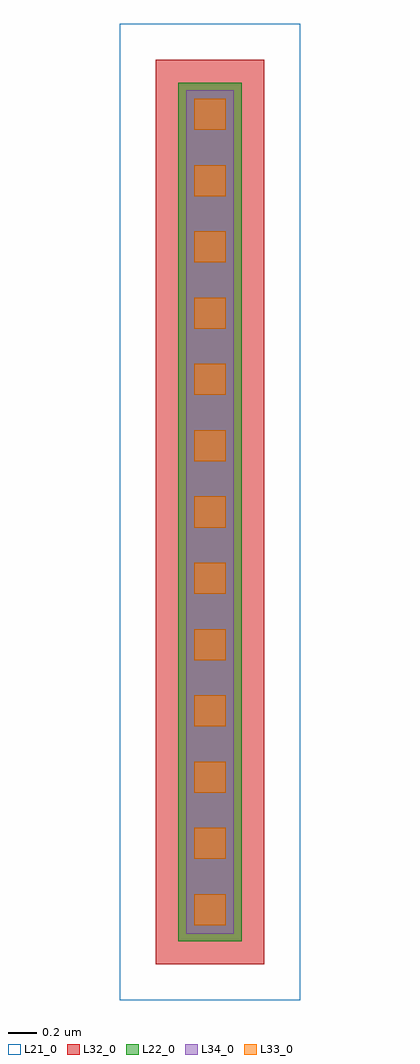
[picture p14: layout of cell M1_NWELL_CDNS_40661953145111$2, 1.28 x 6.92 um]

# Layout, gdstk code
import gdstk
lib = gdstk.Library(unit=1e-6, precision=1e-09)
def R(c, l, rs):  # rectangles x0, y0, x1, y1
    for r in rs: c.add(gdstk.rectangle(r[:2], r[2:], *l))
def A(c, l, x, y, w, h, nx, ny, dx, dy):  # array of equal rectangles
    R(c, l, [(x+i*dx, y+j*dy, x+i*dx+w, y+j*dy+h) for i in range(nx) for j in range(ny)])
L21_0 = (21, 0)
L22_0 = (22, 0)
L32_0 = (32, 0)
L33_0 = (33, 0)
L34_0 = (34, 0)

m1_nwell_cdns_4066195314 = lib.new_cell('M1_NWELL_CDNS_40661953145111$2')
R(m1_nwell_cdns_4066195314, L21_0, [(-0.64,-3.46,0.64,3.46)])
R(m1_nwell_cdns_4066195314, L22_0, [(-0.225,-3.045,0.225,3.045)])
R(m1_nwell_cdns_4066195314, L32_0, [(-0.385,-3.205,0.385,3.205)])
A(m1_nwell_cdns_4066195314, L33_0, -0.11, -2.93, 0.22, 0.22, 1, 13, 0, 0.47)
R(m1_nwell_cdns_4066195314, L34_0, [(-0.17,-2.99,0.17,2.99)])

lib.write_gds('M1_NWELL_CDNS_40661953145111_2.gds')
